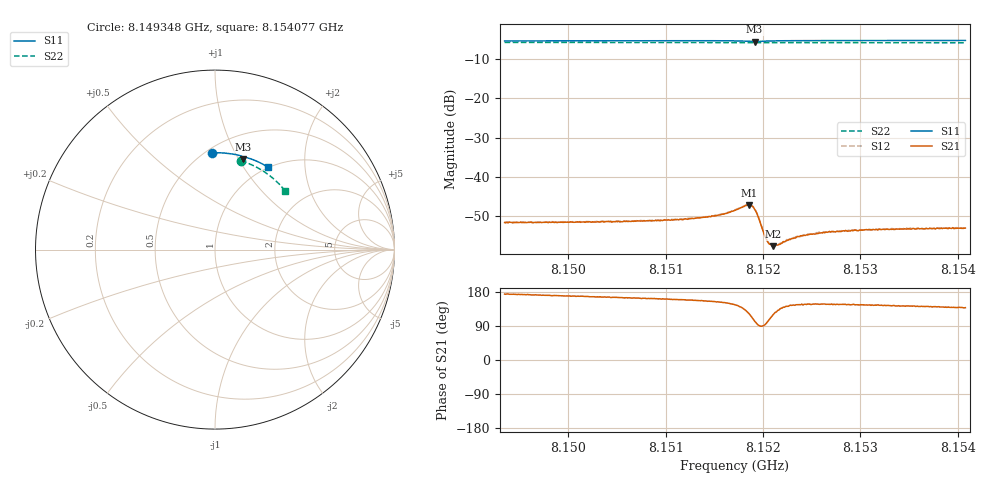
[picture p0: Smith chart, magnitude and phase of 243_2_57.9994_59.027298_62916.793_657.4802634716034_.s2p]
#  HZ  S  RI  R  50.00
! Rohde & Schwarz Vector Network Analyzer
! Rohde-Schwarz,ZNB20-2Port,1311601062101988,3.16
! Created: UTC 3/21/2024, 1:01:09 AM
! freq[Hz]  re:S11  im:S11  re:S21  im:S21  re:S12  im:S12  re:S22  im:S22
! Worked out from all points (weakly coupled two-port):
!   401 points, 8.149348 GHz to 8.154077 GHz, reference 50 ohm
!   highest |S21| = -47.11 dB at 8.151854 GHz (marker M1); lowest = -57.6 dB at 8.152103 GHz (marker M2)
!   lowest |S11| = -5.5 dB at 8.151913 GHz (marker M3), VSWR 3.24, Z = 37.3 + j52.2 ohm
!   |S11| at or under -10 dB: nowhere
!   |S22| runs from -5.9 to -5.8 dB; largest |S21 - S12| = 0.00012
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8.1493475e9  -0.0157 0.5387  -0.00262 0.00028  -0.00262 0.000293  0.145 0.495
8.1501398e9  0.0398 0.5388  -0.00262 0.000536  -0.00262 0.000616  0.1934 0.4771
8.150932e9  0.0951 0.5329  -0.00264 0.000882  -0.00267 0.000949  0.2395 0.4549
8.1511803e9  0.1125 0.5299  -0.00268 0.00102  -0.00271 0.00107  0.2534 0.4469
8.1514523e9  0.1318 0.5253  -0.00285 0.00133  -0.00284 0.00138  0.2684 0.4376
8.151606e9  0.1434 0.5218  -0.003 0.00163  -0.00298 0.0017  0.2767 0.4321
8.1517124e9  0.1516 0.518  -0.00311 0.00213  -0.00312 0.0022  0.2822 0.4283
8.1518543e9  0.1593 0.5076  -0.0024 0.0037  -0.00236 0.00378  0.2895 0.4227
8.151878e9  0.1586 0.5057  -0.00187 0.00392  -0.0018 0.004  0.2908 0.4218
8.1519135e9  0.1562 0.5045  -0.000854 0.00379  -0.000811 0.00385  0.2924 0.4206
8.1519489e9  0.1545 0.5063  -0.000136 0.00316  -0.000122 0.00318  0.2941 0.4195
8.1520317e9  0.1587 0.512  -0.000176 0.00164  -0.000193 0.00163  0.2984 0.4165
8.1520672e9  0.162 0.5132  -0.000429 0.00133  -0.000419 0.00133  0.3004 0.4152
8.1521027e9  0.1652 0.5134  -0.000643 0.00115  -0.000644 0.00116  0.3021 0.4139
8.1521499e9  0.1693 0.5133  -0.000883 0.00103  -0.000888 0.00107  0.3046 0.4121
8.1522564e9  0.1779 0.5119  -0.00123 0.000973  -0.00123 0.000983  0.3101 0.4078
8.1523746e9  0.1869 0.5096  -0.00145 0.000973  -0.00147 0.00101  0.316 0.4031
8.1525047e9  0.1961 0.5066  -0.00157 0.00102  -0.00157 0.00102  0.3226 0.3977
8.1527057e9  0.2096 0.5019  -0.00171 0.00108  -0.00169 0.00112  0.3321 0.3893
8.1529422e9  0.2252 0.4956  -0.00176 0.00119  -0.00173 0.00121  0.3434 0.379
8.1532969e9  0.2479 0.4852  -0.00173 0.00128  -0.00176 0.00131  0.3593 0.3632
8.1540774e9  0.2954 0.4593  -0.00166 0.00149  -0.00166 0.00151  0.3921 0.3258
